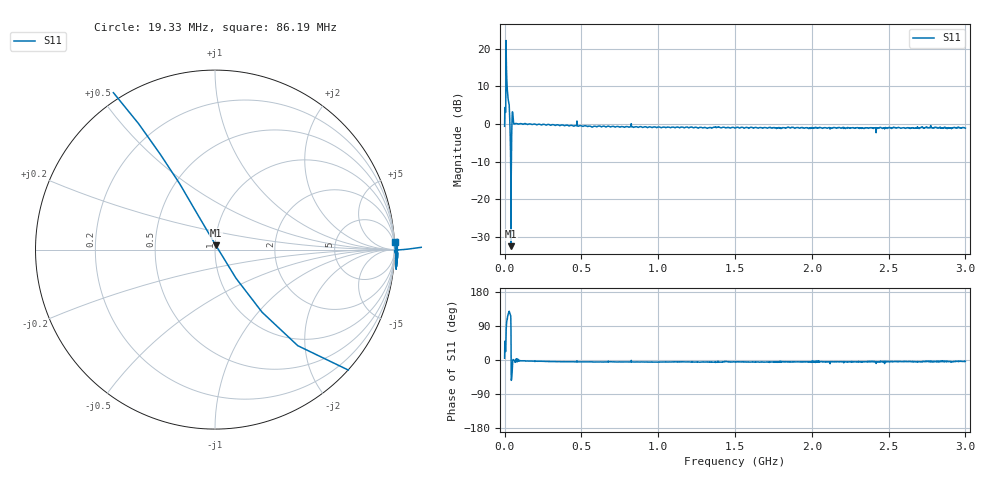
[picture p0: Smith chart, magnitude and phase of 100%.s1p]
# HZ S RI R 50
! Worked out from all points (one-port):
!   2020 points, 10 kHz to 3 GHz, reference 50 ohm
!   lowest |S11| = -32.5 dB at 41.61 MHz (marker M1), VSWR 1.05, Z = 50.4 + j2.34 ohm
!   |S11| at or under -10 dB: 39.28 MHz to 43.98 MHz (4.702 MHz wide, 11.3 % of centre)
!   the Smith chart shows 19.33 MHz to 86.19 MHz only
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10000  0.9307 0.0758
2981758  1.345 0.9645
5953516  1.324 0.5409
1.486879e7  -0.9263 3.588
1.635467e7  -1.004 3.028
2.378406e7  -1.101 1.789
2.526994e7  -1.11 1.67
2.675582e7  -1.118 1.569
2.82417e7  -1.126 1.486
2.972758e7  -1.136 1.415
3.269934e7  -0.7402 1.052
3.56711e7  -0.425 0.7006
4.161461e7  0.00502 0.0232
4.755813e7  0.7427 -0.6712
5.350164e7  1.371 -0.05
5.64734e7  1.149 0.0127
5.944516e7  1.017 -0.00239
6.39028e7  1.007 -0.0234
6.836043e7  1.009 -0.1098
7.578983e7  1.015 0.0576
3.759374e8  0.97 -0.0797
7.503789e8  0.9061 -0.0771
1.126306e9  0.909 -0.0774
1.500748e9  0.8802 -0.0799
1.875189e9  0.9003 -0.0857
2.251117e9  0.8796 -0.0675
2.625558e9  0.895 -0.0652
3e9  0.8798 -0.0517
